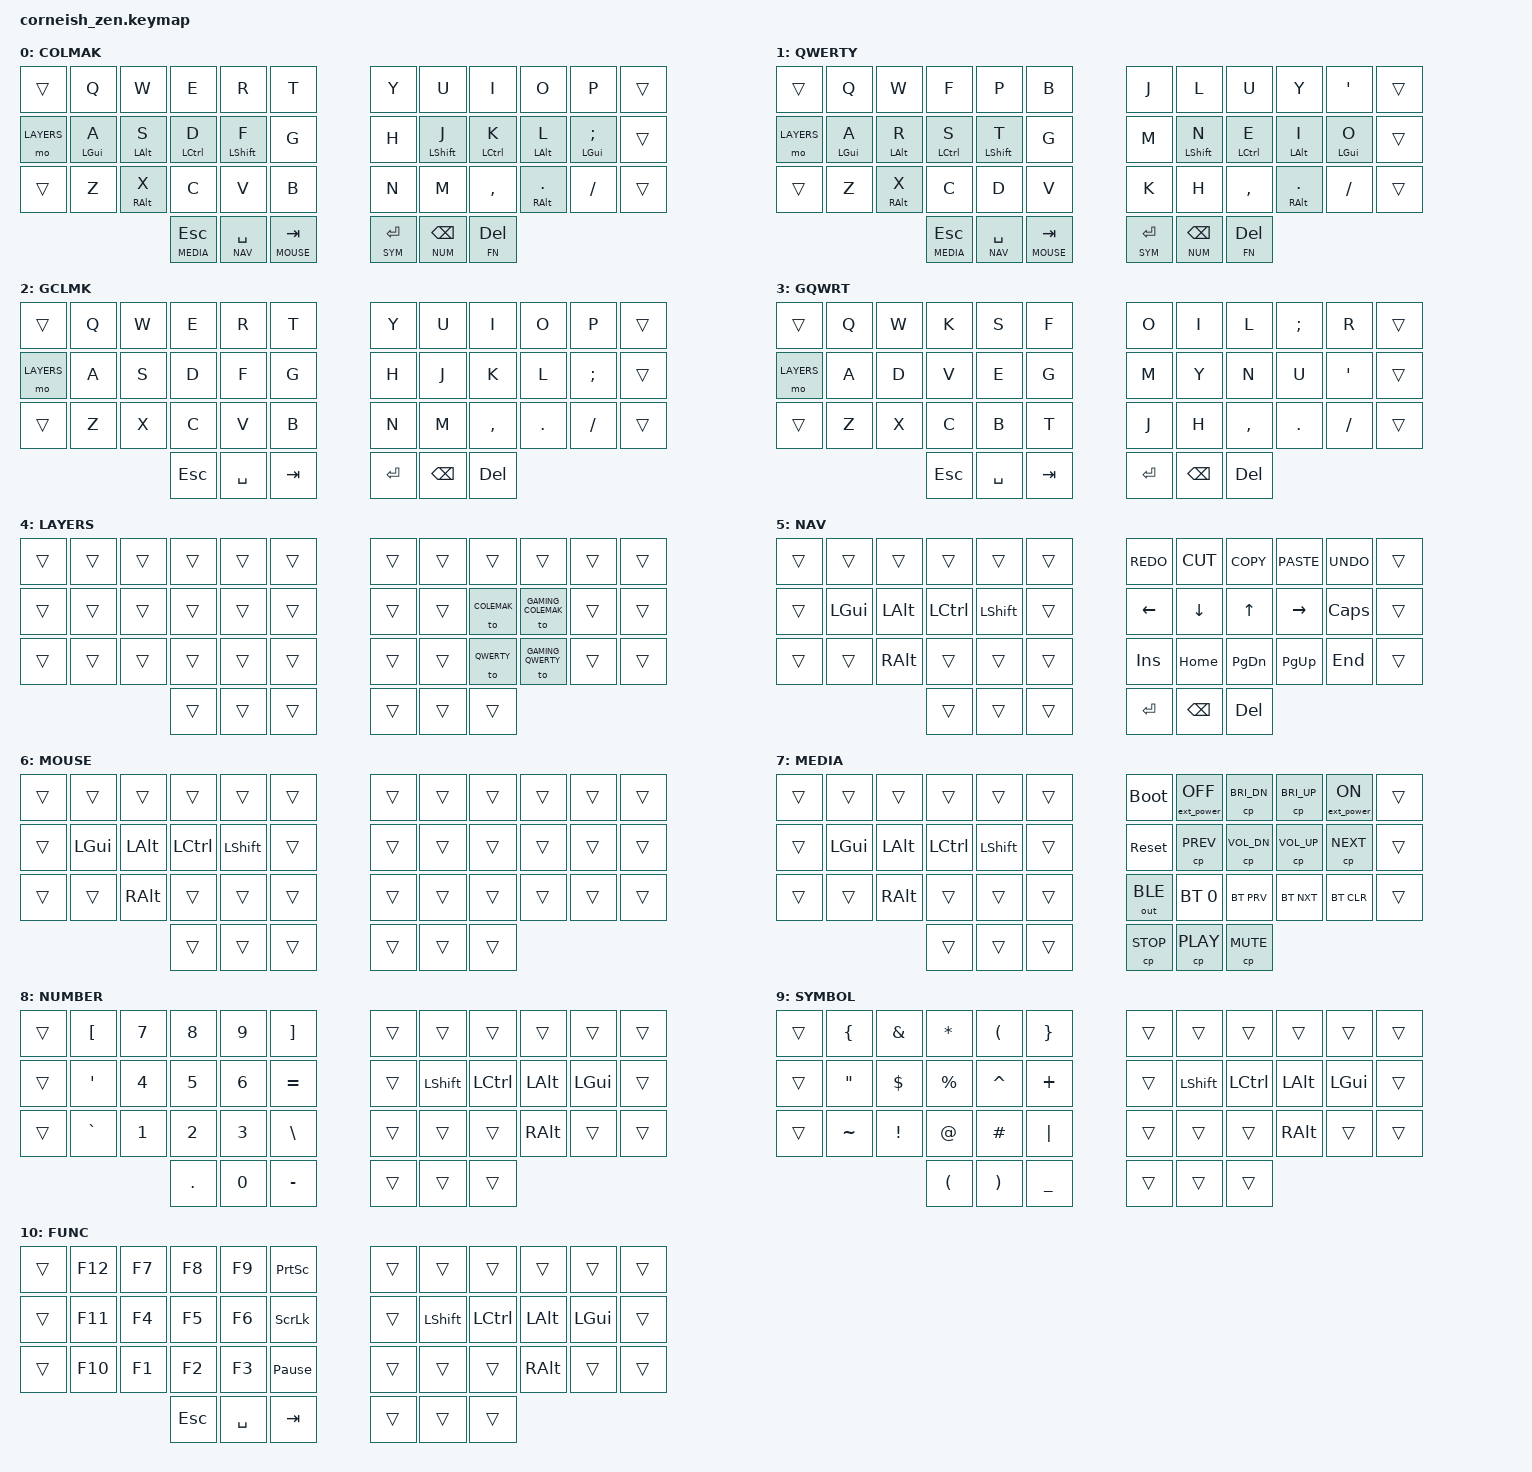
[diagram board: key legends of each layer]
#include <behaviors.dtsi>
#include <dt-bindings/zmk/keys.h>
#include <dt-bindings/zmk/bt.h>
#include <dt-bindings/zmk/ext_power.h>
#include <dt-bindings/zmk/outputs.h>
#include <dt-bindings/zmk/rgb.h>

// Layer Definitions
#define COLEMAK 0
#define QWERTY 1
#define GAMING_COLEMAK 2
#define GAMING_QWERTY 3
#define LAYERS 4
#define NAV 5
#define MOUSE 6
#define MEDIA 7
#define NUM 8
#define SYM 9
#define FN 10

// Behavior configuration
&mt {
    tapping-term-ms = <200>;
    quick_tap_ms = <0>;
    flavor = "tap-preferred";
};
&lt {
    tapping-term-ms = <200>;
    quick_tap_ms = <0>;
    flavor = "tap-preferred";
};
&sk {
    release-after-ms = <500>;
    quick-release;
};

// Keymap configuration (Colemak-DHm)
/ {
    keymap {
        compatible = "zmk,keymap";

        colemak {
                display-name = "COLMAK";
// -----------------------------------------------------------------------------------------------------------------------------
// |        |   Q    |   W    |     F     |     P     |     B     | # |     J     |    L     |    U    |    Y   |   '    |     |
// | LAYERS | A/LGUI | R/LALT |  S/LCTRL  |  T/LSHFT  |     G     | # |     M     | N/LSHFT  | E/LCTRL | I/LALT | O/LGUI |     |
// |        |   Z    | X/RALT |     C     |     D     |     V     | # |     K     |    H     |    ,    | ./RALT |   /    |     |
//                            | ESC/MEDIA | SPACE/NAV | TAB/MOUSE | # | ENTER/SYM | BSPC/NUM | DEL/FN  |

            bindings = <
&trans      &kp Q       &kp W       &kp E          &kp R          &kp T                &kp Y          &kp U         &kp I          &kp O         &kp P          &trans
&mo LAYERS  &mt LGUI A  &mt LALT S  &mt LCTRL D    &mt LSHFT F    &kp G                &kp H          &mt LSHFT J   &mt LCTRL K    &mt LALT L    &mt LGUI SEMI  &trans
&trans      &kp Z       &mt RALT X  &kp C          &kp V          &kp B                &kp N          &kp M         &kp CMMA       &mt RALT DOT  &kp FSLH       &trans
                                    &lt MEDIA ESC  &lt NAV SPACE  &lt MOUSE TAB        &lt SYM ENTER  &lt NUM BSPC  &lt FN DEL
            >;
        };

        qwerty {
                display-name = "QWERTY";
// -----------------------------------------------------------------------------------------------------------------------------
// |        |   Q    |   W    |     E     |     R     |     T     | # |     Y     |     U    |    I    |    O   |   P    |     |
// | LAYERS | A/LGUI | S/LALT |  D/LCTRL  |  F/LSHFT  |     G     | # |     H     | J/LSHFT  | K/LCTRR | L/LALT | ;/LGUI |     |
// |        |   Z    | X/RALT |     C     |     V     |     B     | # |     N     |     M    |    ,    | ./RALT |   /    |     |
//                            | ESC/MEDIA | SPACE/NAV | TAB/MOUSE | # | ENTER/SYM | BSPC/NUM | DEL/FN  |

            bindings = <
&trans      &kp Q       &kp W       &kp F          &kp P          &kp B                &kp J          &kp L         &kp U          &kp Y         &kp SQT     &trans
&mo LAYERS  &mt LGUI A  &mt LALT R  &mt LCTRL S    &mt LSHFT T    &kp G                &kp M          &mt LSHFT N   &mt LCTRL E    &mt LALT I    &mt LGUI O  &trans
&trans      &kp Z       &mt RALT X  &kp C          &kp D          &kp V                &kp K          &kp H         &kp CMMA       &mt RALT DOT  &kp FSLH    &trans
                                    &lt MEDIA ESC  &lt NAV SPACE  &lt MOUSE TAB        &lt SYM ENTER  &lt NUM BSPC  &lt FN DEL
            >;
        };

        gaming_colemak {
                display-name = "GCLMK";
// ----------------------------------------------------------------------------------------------------
// |        |   Q   |   W   |   F   |   P   |   B   | # |   J   |   L   |   U   |   Y   |   '   |     |
// | LAYERS |   A   |   R   |   S   |   T   |   G   | # |   M   |   N   |   E   |   I   |   O   |     |
// |        |   Z   |   X   |   C   |   D   |   V   | # |   K   |   H   |   ,   |   .   |   /   |     |
//                          |  ESC  | SPACE |  TAB  | # | ENTER | BSPC  |  DEL  |

            bindings = <
&trans      &kp Q  &kp W  &kp E    &kp R      &kp T          &kp Y      &kp U     &kp I     &kp O    &kp P     &trans
&mo LAYERS  &kp A  &kp S  &kp D    &kp F      &kp G          &kp H      &kp J     &kp K     &kp L    &kp SEMI  &trans
&trans      &kp Z  &kp X  &kp C    &kp V      &kp B          &kp N      &kp M     &kp CMMA  &kp DOT  &kp FSLH  &trans
                          &kp ESC  &kp SPACE  &kp TAB        &kp ENTER  &kp BSPC  &kp DEL
            >;
        };

        gaming_qwerty {
                display-name = "GQWRT";
// ----------------------------------------------------------------------------------------------------
// |        |   Q   |   W   |   E   |   R   |   T   | # |   Y   |   U   |   I   |   O   |   P   |     |
// | LAYERS |   A   |   S   |   D   |   F   |   G   | # |   H   |   J   |   K   |   L   |   ;   |     |
// |        |   Z   |   X   |   C   |   V   |   B   | # |   N   |   M   |   ,   |   .   |   /   |     |
//                          |  ESC  | SPACE |  TAB  | # | ENTER | BSPC  |  DEL  |

            bindings = <
&trans      &kp Q  &kp W  &kp K    &kp S      &kp F          &kp O      &kp I     &kp L     &kp SEMI  &kp R     &trans
&mo LAYERS  &kp A  &kp D  &kp V    &kp E      &kp G          &kp M      &kp Y     &kp N     &kp U     &kp SQT   &trans
&trans      &kp Z  &kp X  &kp C    &kp B      &kp T          &kp J      &kp H     &kp CMMA  &kp DOT   &kp FSLH  &trans
                      &kp ESC  &kp SPACE  &kp TAB        &kp ENTER  &kp BSPC  &kp DEL
            >;
        };

        layers {
                display-name = "LAYERS";
// ---------------------------------------------------------------------------------------------
// |      |     |     |     |     |     | # |     |     |         |                |     |     |
// | HELD |     |     |     |     |     | # |     |     | COLEMAK | GAMING_COLEMAK |     |     |
// |      |     |     |     |     |     | # |     |     | QWERTY  | GAMING_QWERTY  |     |     |
//                    |     |     |     | # |     |     |         |

            bindings = <
&trans  &trans  &trans  &trans  &trans  &trans        &trans  &trans  &trans       &trans              &trans  &trans
&trans  &trans  &trans  &trans  &trans  &trans        &trans  &trans  &to COLEMAK  &to GAMING_COLEMAK  &trans  &trans
&trans  &trans  &trans  &trans  &trans  &trans        &trans  &trans  &to QWERTY   &to GAMING_QWERTY   &trans  &trans
                        &trans  &trans  &trans        &trans  &trans  &trans
            >;
        };


        navigation {
                display-name = "NAV";
// -------------------------------------------------------------------------------------------
// |     |      |      |       |       |     | # | REDO  | CUT  | COPY | PASTE | UNDO  |     |
// |     | LGUI | LALT | LCTRL | LSHFT |     | # | CAPS  | LEFT | DOWN | UP    | RIGHT |     |
// |     |      | RALT |       |       |     | # | INS   | HOME | PGDN | PGUP  | END   |     |
//                     |       | HELD  |     | # | ENTER | BSPC | DEL  |

            bindings = <
&trans  &trans    &trans    &trans     &trans     &trans        &kp K_REDO    &kp K_CUT  &kp K_COPY  &kp K_PASTE  &kp K_UNDO    &trans
&trans  &kp LGUI  &kp LALT  &kp LCTRL  &kp LSHFT  &trans        &kp LEFT      &kp DOWN   &kp UP      &kp RIGHT    &kp CAPSLOCK  &trans
&trans  &trans    &kp RALT  &trans     &trans     &trans        &kp INS       &kp HOME   &kp PG_DN   &kp PG_UP    &kp END       &trans
                            &trans     &trans     &trans        &kp ENTER     &kp BSPC   &kp DEL
            >;
        };

// TODO
// Add mouse keys when implemented in ZMK

        mouse {
                display-name = "MOUSE";
// ------------------------------------------------------------------------------------
// |     |      |      |       |       |      | # |     |     |     |     |     |     |
// |     | LGUI | LALT | LCTRL | LSHFT |      | # |     |     |     |     |     |     |
// |     |      | RALT |       |       |      | # |     |     |     |     |     |     |
//                     |       |       | HELD | # |     |     |     |

            bindings = <
&trans  &trans    &trans    &trans     &trans     &trans        &trans  &trans  &trans  &trans  &trans  &trans
&trans  &kp LGUI  &kp LALT  &kp LCTRL  &kp LSHFT  &trans        &trans  &trans  &trans  &trans  &trans  &trans
&trans  &trans    &kp RALT  &trans     &trans     &trans        &trans  &trans  &trans  &trans  &trans  &trans
                            &trans     &trans     &trans        &trans  &trans  &trans
            >;
        };

        media {
                display-name = "MEDIA";
// -----------------------------------------------------------------------------------------------------
// |     |      |      |       |       |      | # | BOOTLOAD | EP_OFF | BR_D   | BR_U   | EP_ON  |     |
// |     | LGUI | LALT | LCTRL | LSHFT |      | # | RESET    | PREV   | VOL_D  | VOL_U  | NEXT   |     |
// |     |      | RALT |       |       |      | # | OUT_BLE  | BT_0   | BT_PRV | BT_NXT | BT_CLR |     |
//                     | HELD  |       |      | # | STOP     | PLAY   | MUTE   |

            bindings = <
&trans  &trans    &trans    &trans     &trans     &trans        &bootloader   &ext_power EP_OFF  &cp C_BRI_DN  &cp C_BRI_UP  &ext_power EP_ON  &trans
&trans  &kp LGUI  &kp LALT  &kp LCTRL  &kp LSHFT  &trans        &sys_reset        &cp C_PREV         &cp C_VOL_DN  &cp C_VOL_UP  &cp C_NEXT        &trans
&trans  &trans    &kp RALT  &trans     &trans     &trans        &out OUT_BLE  &bt BT_SEL 0       &bt BT_PRV    &bt BT_NXT    &bt BT_CLR        &trans
                            &trans     &trans     &trans        &cp C_STOP    &cp C_PLAY         &cp C_MUTE
            >;
        };

        numbers {
                display-name = "NUMBER";
// -----------------------------------------------------------------------------------
// |     |  [  |  7  |  8  |  9  |  ]  | # |     |       |       |      |      |     |
// |     |  ;  |  4  |  5  |  6  |  =  | # |     | LSHFT | LCTRL | LALT | LGUI |     |
// |     |  `  |  1  |  2  |  3  |  \  | # |     |       |       | RALT |      |     |
//                   |  .  |  0  |  -  | # |     | HELD  |       |

            bindings = <
&trans  &kp LBKT   &kp N7  &kp N8   &kp N9  &kp RBKT         &trans  &trans     &trans     &trans    &trans    &trans
&trans  &kp SQT    &kp N4  &kp N5   &kp N6  &kp EQUAL        &trans  &kp LSHFT  &kp LCTRL  &kp LALT  &kp LGUI  &trans
&trans  &kp GRAVE  &kp N1  &kp N2   &kp N3  &kp BSLH         &trans  &trans     &trans     &kp RALT  &trans    &trans
                           &kp DOT  &kp N0  &kp MINUS        &trans  &trans     &trans
            >;
        };

        symbols {
                display-name = "SYMBOL";
// ------------------------------------------------------------------------------------
// |     |  {  |  &  |  *  |  (  |  }  | # |      |       |       |      |      |     |
// |     |  :  |  $  |  %  |  ^  |  +  | # |      | LSHFT | LCTRL | LALT | LGUI |     |
// |     |  ~  |  !  |  @  |  #  |  |  | # |      |       |       | RALT |      |     |
//                   |  (  |  )  |  _  | # | HELD |       |       |

            bindings = <
&trans  &kp LBRC   &kp AMPS  &kp ASTRK  &kp LPAR   &kp RBRC              &trans  &trans     &trans     &trans    &trans    &trans
&trans  &kp DQT    &kp DLLR  &kp PRCNT  &kp CARET  &kp PLUS              &trans  &kp LSHFT  &kp LCTRL  &kp LALT  &kp LGUI  &trans
&trans  &kp TILDE  &kp EXCL  &kp AT     &kp HASH   &kp PIPE              &trans  &trans     &trans     &kp RALT  &trans    &trans
                             &kp LPAR   &kp RPAR   &kp UNDERSCORE        &trans  &trans     &trans
            >;
        };

        function {
                display-name = "FUNC";
// ------------------------------------------------------------------------------------------
// |     |  F12 |  F7  |  F8  |  F9   | PSCRN | # |     |       |       |      |      |     |
// |     |  F11 |  F4  |  F5  |  F6   | SLCK  | # |     | LSHFT | LCTRL | LALT | LGUI |     |
// |     |  F10 |  F1  |  F2  |  F3   | PAUSE | # |     |       |       | RALT |      |     |
//                     | ESC  | SPACE |  TAB  | # |     |       | HELD  |

            bindings = <
&trans  &kp F12  &kp F7  &kp F8   &kp F9     &kp PSCRN              &trans  &trans     &trans     &trans    &trans    &trans
&trans  &kp F11  &kp F4  &kp F5   &kp F6     &kp SLCK               &trans  &kp LSHFT  &kp LCTRL  &kp LALT  &kp LGUI  &trans
&trans  &kp F10  &kp F1  &kp F2   &kp F3     &kp PAUSE_BREAK        &trans  &trans     &trans     &kp RALT  &trans    &trans
                         &kp ESC  &kp SPACE  &kp TAB                &trans  &trans     &trans
            >;
        };
    };
};
